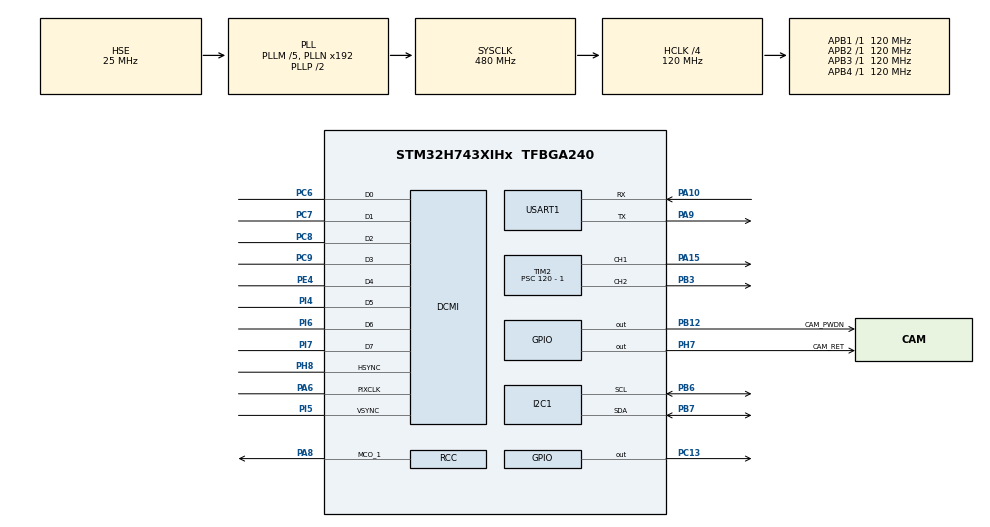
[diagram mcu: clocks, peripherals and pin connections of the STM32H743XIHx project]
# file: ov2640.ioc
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CORTEX_M7.CPU_DCache=Enabled
CORTEX_M7.CPU_ICache=Enabled
CORTEX_M7.Enable_Spec=__NULL
CORTEX_M7.default_mode_Activation=1
DCMI.HSPolarity=DCMI_HSPOLARITY_LOW
DCMI.PCKPolarity=DCMI_PCKPOLARITY_RISING
DCMI.VSPolarity=DCMI_VSPOLARITY_LOW
Dma.DCMI.0.Direction=DMA_PERIPH_TO_MEMORY
Dma.DCMI.0.EventEnable=DISABLE
Dma.DCMI.0.FIFOMode=DMA_FIFOMODE_ENABLE
Dma.DCMI.0.FIFOThreshold=DMA_FIFO_THRESHOLD_FULL
Dma.DCMI.0.Instance=DMA1_Stream0
Dma.DCMI.0.MemBurst=DMA_MBURST_SINGLE
Dma.DCMI.0.MemDataAlignment=DMA_MDATAALIGN_WORD
Dma.DCMI.0.MemInc=DMA_MINC_ENABLE
Dma.DCMI.0.Mode=DMA_NORMAL
Dma.DCMI.0.PeriphBurst=DMA_PBURST_SINGLE
Dma.DCMI.0.PeriphDataAlignment=DMA_PDATAALIGN_WORD
Dma.DCMI.0.PeriphInc=DMA_PINC_DISABLE
Dma.DCMI.0.Polarity=HAL_DMAMUX_REQ_GEN_RISING
Dma.DCMI.0.Priority=DMA_PRIORITY_VERY_HIGH
Dma.DCMI.0.RequestNumber=1
Dma.DCMI.0.SignalID=NONE
Dma.DCMI.0.SyncEnable=DISABLE
Dma.DCMI.0.SyncPolarity=HAL_DMAMUX_SYNC_NO_EVENT
Dma.DCMI.0.SyncRequestNumber=1
Dma.DCMI.0.SyncSignalID=NONE
Dma.Request0=DCMI
I2C1.Timing=0x307075B1
Mcu.Family=STM32H7
Mcu.Name=STM32H743XIHx
Mcu.Package=TFBGA240
NVIC.DCMI_IRQn=true\:0\:0\:false\:false\:true\:true\:true\:true
NVIC.DMA1_Stream0_IRQn=true\:0\:0\:false\:false\:true\:false\:true\:true
NVIC.PriorityGroup=NVIC_PRIORITYGROUP_4
PA10.Mode=Asynchronous
PA10.Signal=USART1_RX
PA13\ (JTMS/SWDIO).Mode=Serial_Wire
PA13\ (JTMS/SWDIO).Signal=DEBUG_JTMS-SWDIO
PA14\ (JTCK/SWCLK).Mode=Serial_Wire
PA14\ (JTCK/SWCLK).Signal=DEBUG_JTCK-SWCLK
PA15\ (JTDI).Signal=S_TIM2_CH1_ETR
PA6.GPIO_Speed=GPIO_SPEED_FREQ_VERY_HIGH
PA6.Mode=Slave_8_bits_External_Synchro
PA6.Signal=DCMI_PIXCLK
PA8.GPIO_Speed=GPIO_SPEED_FREQ_VERY_HIGH
PA8.Mode=Clock-out-1
PA8.Signal=RCC_MCO_1
PA9.Mode=Asynchronous
PA9.Signal=USART1_TX
PB12.GPIO_Label=CAM_PWDN
PB12.Signal=GPIO_Output
PB3\ (JTDO/TRACESWO).Signal=S_TIM2_CH2
PB6.GPIO_Pu=GPIO_PULLUP
PB6.Mode=I2C
PB6.Signal=I2C1_SCL
PB7.GPIO_Pu=GPIO_PULLUP
PB7.Mode=I2C
PB7.Signal=I2C1_SDA
PC13.GPIO_ModeDefaultOutputPP=GPIO_MODE_OUTPUT_OD
PC13.GPIO_PuPd=GPIO_NOPULL
PC13.Signal=GPIO_Output
PC6.GPIO_Speed=GPIO_SPEED_FREQ_VERY_HIGH
PC6.Mode=Slave_8_bits_External_Synchro
PC6.Signal=DCMI_D0
PC7.GPIO_Speed=GPIO_SPEED_FREQ_VERY_HIGH
PC7.Mode=Slave_8_bits_External_Synchro
PC7.Signal=DCMI_D1
PC8.GPIO_Speed=GPIO_SPEED_FREQ_VERY_HIGH
PC8.Mode=Slave_8_bits_External_Synchro
PC8.Signal=DCMI_D2
PC9.GPIO_Speed=GPIO_SPEED_FREQ_VERY_HIGH
PC9.Mode=Slave_8_bits_External_Synchro
PC9.Signal=DCMI_D3
PE4.GPIO_Speed=GPIO_SPEED_FREQ_VERY_HIGH
PE4.Mode=Slave_8_bits_External_Synchro
PE4.Signal=DCMI_D4
PH0-OSC_IN\ (PH0).Mode=HSE-External-Oscillator
PH0-OSC_IN\ (PH0).Signal=RCC_OSC_IN
PH1-OSC_OUT\ (PH1).Mode=HSE-External-Oscillator
PH1-OSC_OUT\ (PH1).Signal=RCC_OSC_OUT
PH7.GPIO_Label=CAM_RET
PH7.Signal=GPIO_Output
PH8.GPIO_Speed=GPIO_SPEED_FREQ_VERY_HIGH
PH8.Mode=Slave_8_bits_External_Synchro
PH8.Signal=DCMI_HSYNC
PI4.GPIO_Speed=GPIO_SPEED_FREQ_VERY_HIGH
PI4.Mode=Slave_8_bits_External_Synchro
PI4.Signal=DCMI_D5
PI5.GPIO_Speed=GPIO_SPEED_FREQ_VERY_HIGH
PI5.Mode=Slave_8_bits_External_Synchro
PI5.Signal=DCMI_VSYNC
PI6.GPIO_Speed=GPIO_SPEED_FREQ_VERY_HIGH
PI6.Mode=Slave_8_bits_External_Synchro
PI6.Signal=DCMI_D6
PI7.GPIO_Speed=GPIO_SPEED_FREQ_VERY_HIGH
PI7.Mode=Slave_8_bits_External_Synchro
PI7.Signal=DCMI_D7
ProjectManager.HeapSize=0x200
ProjectManager.StackSize=0x400
ProjectManager.TargetToolchain=STM32CubeIDE
RCC.ADCFreq_Value=50390625
RCC.APB1Freq_Value=120000000
RCC.APB2Freq_Value=120000000
RCC.APB3Freq_Value=120000000
RCC.APB4Freq_Value=120000000
RCC.CortexFreq_Value=480000000
RCC.DIVM1=5
RCC.DIVN1=192
RCC.HCLKFreq_Value=120000000
RCC.HPRE=RCC_HCLK_DIV4
RCC.PLL2FRACN=0
RCC.PLL3FRACN=0
RCC.PLLFRACN=0
RCC.PLLSourceVirtual=RCC_PLLSOURCE_HSE
RCC.RCC_MCO1Source=RCC_MCO1SOURCE_HSE
RCC.RCC_MCODiv1=RCC_MCODIV_2
RCC.SYSCLKFreq_VALUE=480000000
RCC.SYSCLKSource=RCC_SYSCLKSOURCE_PLLCLK
RCC.USBFreq_Value=480000000
SH.S_TIM2_CH1_ETR.0=TIM2_CH1,PWM Generation1 CH1
SH.S_TIM2_CH2.0=TIM2_CH2,PWM Generation2 CH2
TIM2.Channel-PWM\ Generation1\ CH1=TIM_CHANNEL_1
TIM2.Channel-PWM\ Generation2\ CH2=TIM_CHANNEL_2
TIM2.Period=20000 - 1
TIM2.Prescaler=120 - 1
TIM2.Pulse-PWM\ Generation1\ CH1=1500
TIM2.Pulse-PWM\ Generation2\ CH2=1500
USART1.VirtualMode-Asynchronous=VM_ASYNC
VP_MEMORYMAP_VS_MEMORYMAP.Mode=CurAppReg
VP_TIM2_VS_ClockSourceINT.Mode=Internal
board=custom

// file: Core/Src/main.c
/* USER CODE BEGIN Header */
/**
 ******************************************************************************
 * @file           : main.c
 * @brief          : Main program body
 ******************************************************************************
 * @attention
 *
 * Copyright (c) 2026 STMicroelectronics.
 * All rights reserved.
 *
 * This software is licensed under terms that can be found in the LICENSE file
 * in the root directory of this software component.
 * If no LICENSE file comes with this software, it is provided AS-IS.
 *
 ******************************************************************************
 */
/* USER CODE END Header */
#include "main.h"
#include "dcmi.h"
#include "dma.h"
#include "i2c.h"
#include "tim.h"
#include "usart.h"
#include "gpio.h"

/* USER CODE BEGIN Includes */
#include <stdarg.h> // va_list 사용을 위해 추가
#include <stdio.h>  // vsprintf 사용을 위해 추가
#include "ov2640.h"

/* USER CODE END Includes */

/* USER CODE BEGIN PD */

#define OV2640_I2C_ADDR (0x30 << 1)  // 8비트 기준 Write 주소

// 해상도 설정 (QQVGA 160x120 예시)
#define FRAME_W       160
#define FRAME_H       120
#define FRAME_PIXELS   (FRAME_W * FRAME_H)
#define FRAME_BYTES    (FRAME_PIXELS * 2)     // 38400 bytes
#define FRAME_WORDS    (FRAME_BYTES / 4)      // DCMI DMA length in 32-bit words = 9600

// H743 내부 SRAM용 32바이트 정렬 프레임 버퍼
ALIGN_32BYTES(uint16_t frame_buffer[FRAME_PIXELS]);// 프레임 완료 플래그

#define FEATURE_W     96
#define FEATURE_H     96
#define FEATURE_SIZE  (FEATURE_W * FEATURE_H)

extern const float test_features1[];
extern const float test_features2[];

volatile uint8_t frame_ready = 0;
uint8_t current_mode = 0; // 💡 기본값을 RGB 모드로 설정 (원하는 모드로 변경 가능)

/* USER CODE END PD */

void SystemClock_Config(void);
static void MPU_Config(void);

/* USER CODE BEGIN 0 */

static void Send_FeaturesToPC(void) {
// 시작 마커 전송 (기존과 동일한 규격 유지)
	uint8_t start_msg[] = "---START---\r\n";
	HAL_UART_Transmit(&huart1, start_msg, sizeof(start_msg) - 1, HAL_MAX_DELAY);

// float 배열 데이터를 바이트 단위로 캐스팅하여 전송 (36100 bytes)
	HAL_UART_Transmit(&huart1, (uint8_t*) test_features1,
	FEATURE_SIZE * sizeof(uint32_t), HAL_MAX_DELAY);
}

void UART_Printf(const char *format, ...) {
	char loc_buf[256];
	va_list args;

	va_start(args, format);
// 가변 인자를 포맷팅하여 버퍼에 문자열로 저장
	int len = vsnprintf(loc_buf, sizeof(loc_buf), format, args);
	va_end(args);

	if (len > 0)
		HAL_UART_Transmit(&huart1, (uint8_t*) loc_buf, (uint16_t) len,
		HAL_MAX_DELAY);

}

// --------------------------------------------------
// 카메라 DMA 캡처 시작 함수
// --------------------------------------------------
static void Camera_StartCapture(void) {
	HAL_DCMI_Start_DMA(&hdcmi, DCMI_MODE_SNAPSHOT, (uint32_t) frame_buffer,
			FRAME_WORDS);
}

// --------------------------------------------------
// 카메라 모드 설정 함수
// --------------------------------------------------
void Camera_SetMode(uint8_t is_rgb) {
	current_mode = is_rgb;

	if (current_mode == 1) {
		// RGB 컬러 모드 (Normal)
		ov2640_Config(0x60, CAMERA_BLACK_WHITE, CAMERA_BLACK_WHITE_NORMAL, 0);
	} else {
		// Grayscale 흑백 모드 (BW)
		ov2640_Config(0x60, CAMERA_BLACK_WHITE, CAMERA_BLACK_WHITE_BW, 0);
	}
}

// --------------------------------------------------
// 파이썬 뷰어로 1프레임 데이터 전송 함수
// --------------------------------------------------
static void Camera_SendFrameToPC(void) {
	// 파이썬 수신기가 모드를 자동 구분하도록 Header 마커 전송
	if (current_mode == 1) {
		static const uint8_t start_rgb[] = "---START_RGB---\r\n";
		HAL_UART_Transmit(&huart1, (uint8_t*) start_rgb, sizeof(start_rgb) - 1,
				HAL_MAX_DELAY);
	} else {
		static const uint8_t start_gray[] = "---START_GRAY---\r\n";
		HAL_UART_Transmit(&huart1, (uint8_t*) start_gray,
				sizeof(start_gray) - 1, HAL_MAX_DELAY);
	}

	// Raw 이미지 데이터 전송 (160 * 120 * 2 = 38,400 bytes)
	HAL_UART_Transmit(&huart1, (uint8_t*) frame_buffer, FRAME_BYTES,
			HAL_MAX_DELAY);

	// 플래그 초기화 후 다음 프레임 수신 재개
	frame_ready = 0;
	Camera_StartCapture();
}

/* USER CODE END 0 */

int main(void)
{

  /* MPU Configuration--------------------------------------------------------*/
  MPU_Config();

  /* Enable the CPU Cache */

  /* Enable I-Cache---------------------------------------------------------*/
  SCB_EnableICache();

  /* Enable D-Cache---------------------------------------------------------*/
  SCB_EnableDCache();

  /* MCU Configuration--------------------------------------------------------*/

  /* Reset of all peripherals, Initializes the Flash interface and the Systick. */
  HAL_Init();

  /* Configure the system clock */
  SystemClock_Config();

  /* Initialize all configured peripherals */
  MX_GPIO_Init();
  MX_DMA_Init();
  MX_USART1_UART_Init();
  MX_DCMI_Init();
  MX_I2C1_Init();
  MX_TIM2_Init();
  /* USER CODE BEGIN 2 */

//  하드웨어 리셋
	HAL_GPIO_WritePin(CAM_PWDN_GPIO_Port, CAM_PWDN_Pin, GPIO_PIN_RESET);
	HAL_GPIO_WritePin(CAM_RET_GPIO_Port, CAM_RET_Pin, GPIO_PIN_RESET);
	HAL_Delay(30);
	HAL_GPIO_WritePin(CAM_RET_GPIO_Port, CAM_RET_Pin, GPIO_PIN_SET);
	HAL_Delay(20);

//	BSP 함수로 ID 읽기 테스트
	uint16_t pid = ov2640_ReadID(0x60);
	if (pid != OV2640_ID) { // 0x26
		UART_Printf("OV2640 Check Failed! Read ID = 0x%02X\r\n", pid);
		while (1)
			;
	}
	UART_Printf("OV2640 Connected! ID = 0x%02X\r\n", pid);

//	BSP 함수로 카메라 레지스터 및 해상도 초기화 (QQVGA 160x120)
	ov2640_Init(OV2640_I2C_ADDR, CAMERA_R160x120);
//	초기 모드 적용 (1: RGB 모드, 0: Grayscale 모드)
	Camera_SetMode(current_mode);
//	캡처 시작
	Camera_StartCapture();
	UART_Printf("Start Capture...\r\n");
  /* USER CODE END 2 */

  /* Infinite loop */
  /* USER CODE BEGIN WHILE */
	while (1) {
		if (frame_ready) {
			Camera_SendFrameToPC();
		}

		if (hdcmi.State == HAL_DCMI_STATE_ERROR) {
			HAL_DCMI_Stop(&hdcmi);
			hdcmi.State = HAL_DCMI_STATE_READY;
			frame_ready = 0;
			Camera_StartCapture();
		}

//		테스트 이미지 송신
//		Send_FeaturesToPC();
//		HAL_Delay(2000);

    /* USER CODE END WHILE */

	}
}

void SystemClock_Config(void)
{
  RCC_OscInitTypeDef RCC_OscInitStruct = {0};
  RCC_ClkInitTypeDef RCC_ClkInitStruct = {0};

  /** Supply configuration update enable
  */
  HAL_PWREx_ConfigSupply(PWR_LDO_SUPPLY);

  /** Configure the main internal regulator output voltage
  */
  __HAL_PWR_VOLTAGESCALING_CONFIG(PWR_REGULATOR_VOLTAGE_SCALE0);

  while(!__HAL_PWR_GET_FLAG(PWR_FLAG_VOSRDY)) {}

  /** Initializes the RCC Oscillators according to the specified parameters
  * in the RCC_OscInitTypeDef structure.
  */
  RCC_OscInitStruct.OscillatorType = RCC_OSCILLATORTYPE_HSE;
  RCC_OscInitStruct.HSEState = RCC_HSE_ON;
  RCC_OscInitStruct.PLL.PLLState = RCC_PLL_ON;
  RCC_OscInitStruct.PLL.PLLSource = RCC_PLLSOURCE_HSE;
  RCC_OscInitStruct.PLL.PLLM = 5;
  RCC_OscInitStruct.PLL.PLLN = 192;
  RCC_OscInitStruct.PLL.PLLP = 2;
  RCC_OscInitStruct.PLL.PLLQ = 2;
  RCC_OscInitStruct.PLL.PLLR = 2;
  RCC_OscInitStruct.PLL.PLLRGE = RCC_PLL1VCIRANGE_2;
  RCC_OscInitStruct.PLL.PLLVCOSEL = RCC_PLL1VCOWIDE;
  RCC_OscInitStruct.PLL.PLLFRACN = 0;
  if (HAL_RCC_OscConfig(&RCC_OscInitStruct) != HAL_OK)
  {
    Error_Handler();
  }

  /** Initializes the CPU, AHB and APB buses clocks
  */
  RCC_ClkInitStruct.ClockType = RCC_CLOCKTYPE_HCLK|RCC_CLOCKTYPE_SYSCLK
                              |RCC_CLOCKTYPE_PCLK1|RCC_CLOCKTYPE_PCLK2
                              |RCC_CLOCKTYPE_D3PCLK1|RCC_CLOCKTYPE_D1PCLK1;
  RCC_ClkInitStruct.SYSCLKSource = RCC_SYSCLKSOURCE_PLLCLK;
  RCC_ClkInitStruct.SYSCLKDivider = RCC_SYSCLK_DIV1;
  RCC_ClkInitStruct.AHBCLKDivider = RCC_HCLK_DIV4;
  RCC_ClkInitStruct.APB3CLKDivider = RCC_APB3_DIV1;
  RCC_ClkInitStruct.APB1CLKDivider = RCC_APB1_DIV1;
  RCC_ClkInitStruct.APB2CLKDivider = RCC_APB2_DIV1;
  RCC_ClkInitStruct.APB4CLKDivider = RCC_APB4_DIV1;

  if (HAL_RCC_ClockConfig(&RCC_ClkInitStruct, FLASH_LATENCY_1) != HAL_OK)
  {
    Error_Handler();
  }
  HAL_RCC_MCOConfig(RCC_MCO1, RCC_MCO1SOURCE_HSE, RCC_MCODIV_2);
}

/* USER CODE BEGIN 4 */

// DCMI 프레임 수신 완료 콜백 함수
void HAL_DCMI_FrameEventCallback(DCMI_HandleTypeDef *hdcmi) {
	frame_ready = 1;
}

// 에러 발생 시 강제 복구 콜백 함수
void HAL_DCMI_ErrorCallback(DCMI_HandleTypeDef *hdcmi) {
	hdcmi->State = HAL_DCMI_STATE_READY;
	frame_ready = 0;
}

/* USER CODE END 4 */

 /* MPU Configuration */

void MPU_Config(void)
{

  /* Disables the MPU */
  HAL_MPU_Disable();

  /* Enables the MPU */
  HAL_MPU_Enable(MPU_PRIVILEGED_DEFAULT);

}

void Error_Handler(void)
{
	__disable_irq();
	while (1) {
	}
}
